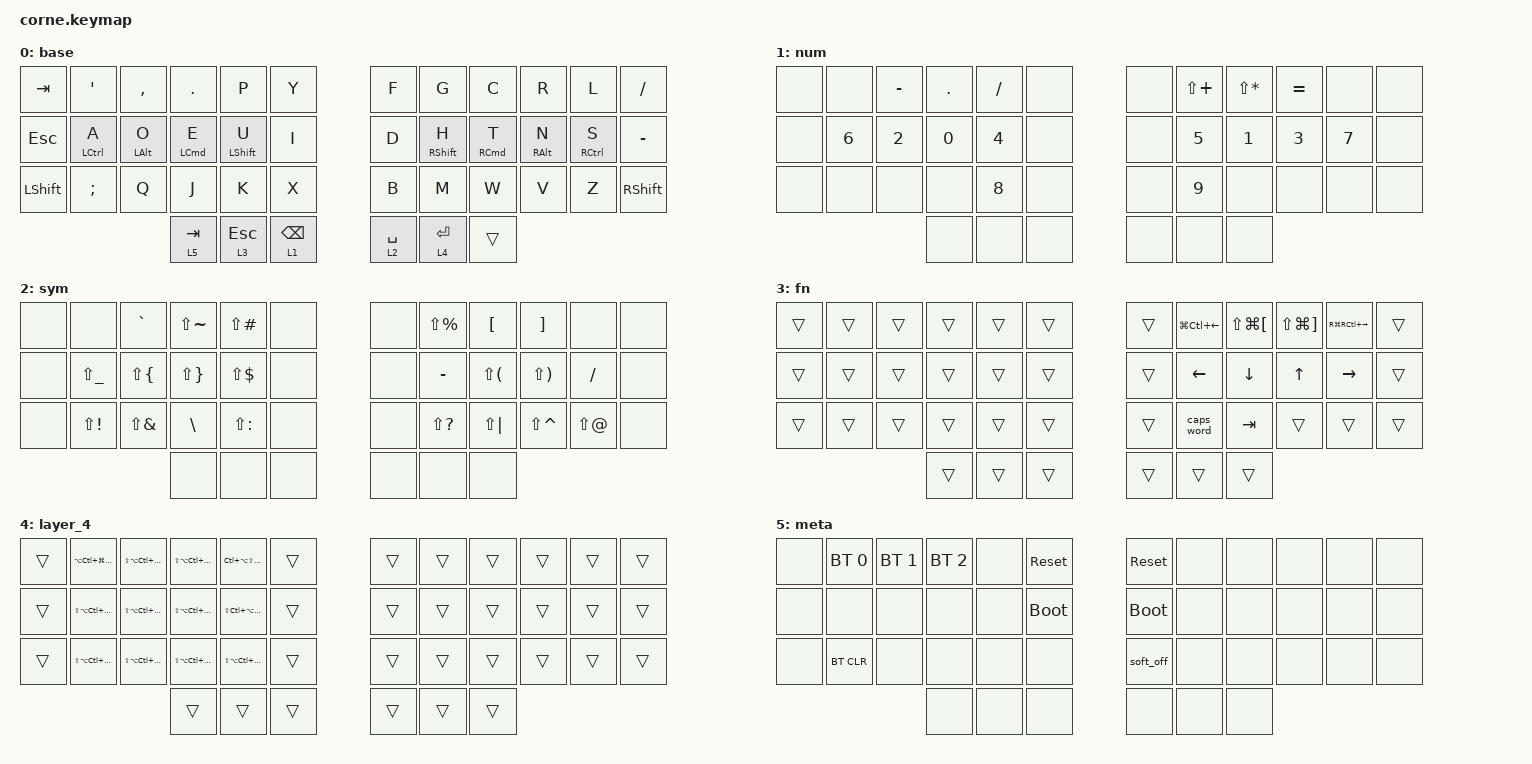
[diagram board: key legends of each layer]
/*
 * Copyright (c) 2020 The ZMK Contributors
 *
 * SPDX-License-Identifier: MIT
 */

#include <behaviors.dtsi>
#include <dt-bindings/zmk/bt.h>
#include <dt-bindings/zmk/keys.h>

&soft_off { hold-time-ms = <1000>; };

/ {
    behaviors {
        hml: hml {
            compatible = "zmk,behavior-hold-tap";
            label = "HRM Left";
            bindings = <&kp>, <&kp>;

            #binding-cells = <2>;
            flavor = "balanced";
            hold-trigger-key-positions = <6 18 30 39 7 8 9 10 11 19 20 21 22 23 31 32 33 34 35 40 41>;
            tapping-term-ms = <200>;
        };

        hmr: hmr {
            compatible = "zmk,behavior-hold-tap";
            label = "HRM Right";
            bindings = <&kp>, <&kp>;

            #binding-cells = <2>;
            tapping-term-ms = <200>;
            flavor = "balanced";
            hold-trigger-key-positions = <0 1 2 3 4 5 12 13 14 15 16 17 24 25 26 27 28 29 36 37 38>;
        };
    };

    keymap {
        compatible = "zmk,keymap";

        base {
            bindings = <
&kp TAB    &kp SQT       &kp COMMA    &kp DOT      &kp P         &kp Y              &kp F        &kp G         &kp C        &kp R        &kp L         &kp FSLH
&kp ESC    &hml LCTRL A  &hml LALT O  &hml LCMD E  &hml LSHFT U  &kp I              &kp D        &hmr RSHFT H  &hmr RCMD T  &hmr RALT N  &hmr RCTRL S  &kp MINUS
&kp LSHFT  &kp SEMI      &kp Q        &kp J        &kp K         &kp X              &kp B        &kp M         &kp W        &kp V        &kp Z         &kp RSHFT
                                      &lt 5 TAB    &lt 3 ESCAPE  &lt 1 BACKSPACE    &lt 2 SPACE  &lt 4 ENTER   &trans
            >;
        };

        num {
            bindings = <
&none  &none   &kp MINUS  &kp DOT  &kp FSLH  &none    &none  &kp LS(PLUS)  &kp LS(STAR)  &kp EQUAL  &none   &none
&none  &kp N6  &kp N2     &kp N0   &kp N4    &none    &none  &kp N5        &kp N1        &kp N3     &kp N7  &none
&none  &none   &none      &none    &kp N8    &none    &none  &kp N9        &none         &none      &none   &none
                          &none    &none     &none    &none  &none         &none
            >;
        };

        sym {
            bindings = <
&none  &none          &kp GRAVE     &kp LS(TILDE)  &kp LS(POUND)  &none    &none  &kp LS(PRCNT)  &kp LBKT      &kp RBKT       &none       &none
&none  &kp LS(UNDER)  &kp LS(LBRC)  &kp LS(RBRC)   &kp LS(DLLR)   &none    &none  &kp MINUS      &kp LS(LPAR)  &kp LS(RPAR)   &kp FSLH    &none
&none  &kp LS(EXCL)   &kp LS(AMPS)  &kp BSLH       &kp LS(COLON)  &none    &none  &kp LS(QMARK)  &kp LS(PIPE)  &kp LS(CARET)  &kp LS(AT)  &none
                                    &none          &none          &none    &none  &none          &none
            >;
        };

        fn {
            bindings = <
&trans  &trans  &trans  &trans  &trans  &trans    &trans  &kp LG(LC(LEFT))  &kp LS(LG(LBKT))  &kp LS(LG(RBKT))  &kp RG(RC(RIGHT))  &trans
&trans  &trans  &trans  &trans  &trans  &trans    &trans  &kp LEFT          &kp DOWN          &kp UP            &kp RIGHT          &trans
&trans  &trans  &trans  &trans  &trans  &trans    &trans  &caps_word        &kp TAB           &trans            &trans             &trans
                        &trans  &trans  &trans    &trans  &trans            &trans
            >;
        };

        layer_4 {
            bindings = <
&trans  &kp LA(LC(LG(LS(F1))))  &kp LS(LA(LC(LG(F2))))   &kp LS(LA(LC(LG(F3))))   &kp LC(LA(LS(LG(F4))))   &trans    &trans  &trans  &trans  &trans  &trans  &trans
&trans  &kp LS(LA(LC(LG(F5))))  &kp LS(LA(LC(LG(F6))))   &kp LS(LA(LC(LG(F7))))   &kp LS(LC(LA(LG(F8))))   &trans    &trans  &trans  &trans  &trans  &trans  &trans
&trans  &kp LS(LA(LC(LG(F9))))  &kp LS(LA(LC(LG(F10))))  &kp LS(LA(LC(LG(F11))))  &kp LS(LA(LC(LG(F12))))  &trans    &trans  &trans  &trans  &trans  &trans  &trans
                                                         &trans                   &trans                   &trans    &trans  &trans  &trans
            >;
        };

        meta {
            bindings = <
&none  &bt BT_SEL 0  &bt BT_SEL 1  &bt BT_SEL 2  &none  &sys_reset     &sys_reset   &none  &none  &none  &none  &none
&none  &none         &none         &none         &none  &bootloader    &bootloader  &none  &none  &none  &none  &none
&none  &bt BT_CLR    &none         &none         &none  &none          &soft_off    &none  &none  &none  &none  &none
                                   &none         &none  &none          &none        &none  &none
            >;
        };
    };
};
